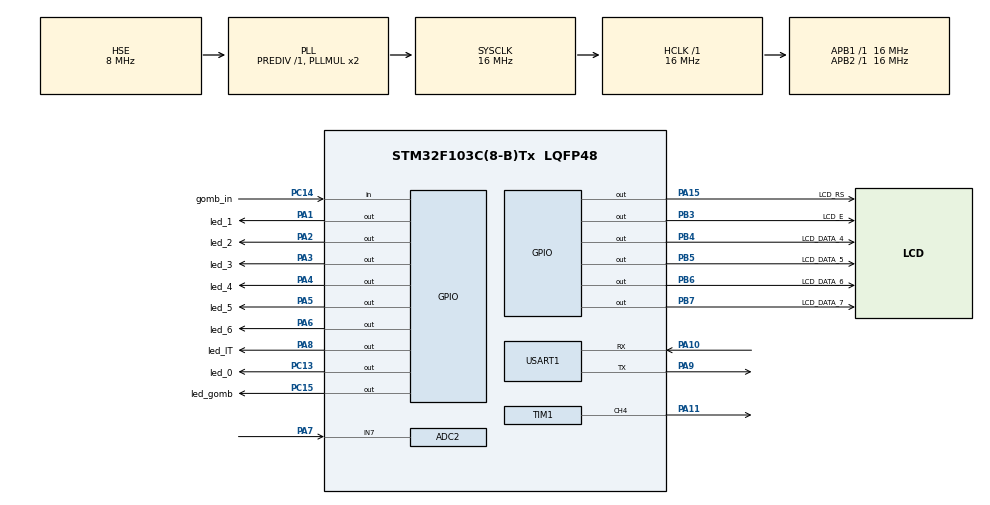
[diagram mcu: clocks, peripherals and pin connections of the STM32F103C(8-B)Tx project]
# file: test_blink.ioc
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ADC1.Channel-0\#ChannelRegularConversion=ADC_CHANNEL_TEMPSENSOR
ADC1.ContinuousConvMode=ENABLE
ADC1.NbrOfConversion=1
ADC1.NbrOfConversionFlag=1
ADC1.Rank-0\#ChannelRegularConversion=1
ADC1.SamplingTime-0\#ChannelRegularConversion=ADC_SAMPLETIME_71CYCLES_5
ADC1.master=1
ADC2.Channel-3\#ChannelRegularConversion=ADC_CHANNEL_7
ADC2.NbrOfConversionFlag=1
ADC2.Rank-3\#ChannelRegularConversion=1
ADC2.SamplingTime-3\#ChannelRegularConversion=ADC_SAMPLETIME_1CYCLE_5
Mcu.Family=STM32F1
Mcu.Name=STM32F103C(8-B)Tx
Mcu.Package=LQFP48
NVIC.PriorityGroup=NVIC_PRIORITYGROUP_4
NVIC.TIM2_IRQn=true\:0\:0\:false\:false\:true\:true\:true
PA1.GPIO_Label=led_1
PA1.GPIO_ModeDefaultOutputPP=GPIO_MODE_OUTPUT_PP
PA1.GPIO_PuPd=GPIO_NOPULL
PA1.GPIO_Speed=GPIO_SPEED_FREQ_LOW
PA1.PinState=GPIO_PIN_RESET
PA1.Signal=GPIO_Output
PA10.Mode=Asynchronous
PA10.Signal=USART1_RX
PA11.Signal=S_TIM1_CH4
PA13.Mode=Serial_Wire
PA13.Signal=SYS_JTMS-SWDIO
PA14.Mode=Serial_Wire
PA14.Signal=SYS_JTCK-SWCLK
PA15.GPIO_Label=LCD_RS
PA15.Signal=GPIO_Output
PA2.GPIO_Label=led_2
PA2.GPIO_ModeDefaultOutputPP=GPIO_MODE_OUTPUT_PP
PA2.GPIO_PuPd=GPIO_NOPULL
PA2.GPIO_Speed=GPIO_SPEED_FREQ_LOW
PA2.PinState=GPIO_PIN_RESET
PA2.Signal=GPIO_Output
PA3.GPIO_Label=led_3
PA3.GPIO_ModeDefaultOutputPP=GPIO_MODE_OUTPUT_PP
PA3.GPIO_PuPd=GPIO_NOPULL
PA3.GPIO_Speed=GPIO_SPEED_FREQ_LOW
PA3.PinState=GPIO_PIN_RESET
PA3.Signal=GPIO_Output
PA4.GPIO_Label=led_4
PA4.GPIO_ModeDefaultOutputPP=GPIO_MODE_OUTPUT_PP
PA4.GPIO_PuPd=GPIO_NOPULL
PA4.GPIO_Speed=GPIO_SPEED_FREQ_LOW
PA4.PinState=GPIO_PIN_RESET
PA4.Signal=GPIO_Output
PA5.GPIO_Label=led_5
PA5.GPIO_ModeDefaultOutputPP=GPIO_MODE_OUTPUT_PP
PA5.GPIO_PuPd=GPIO_NOPULL
PA5.GPIO_Speed=GPIO_SPEED_FREQ_LOW
PA5.PinState=GPIO_PIN_RESET
PA5.Signal=GPIO_Output
PA6.GPIO_Label=led_6
PA6.GPIO_ModeDefaultOutputPP=GPIO_MODE_OUTPUT_PP
PA6.GPIO_PuPd=GPIO_NOPULL
PA6.GPIO_Speed=GPIO_SPEED_FREQ_LOW
PA6.PinState=GPIO_PIN_RESET
PA6.Signal=GPIO_Output
PA7.Signal=ADCx_IN7
PA8.GPIO_Label=led_IT
PA8.GPIO_ModeDefaultOutputPP=GPIO_MODE_OUTPUT_PP
PA8.GPIO_PuPd=GPIO_NOPULL
PA8.GPIO_Speed=GPIO_SPEED_FREQ_LOW
PA8.PinState=GPIO_PIN_RESET
PA8.Signal=GPIO_Output
PA9.Mode=Asynchronous
PA9.Signal=USART1_TX
PB3.GPIO_Label=LCD_E
PB3.Signal=GPIO_Output
PB4.GPIO_Label=LCD_DATA_4
PB4.Signal=GPIO_Output
PB5.GPIO_Label=LCD_DATA_5
PB5.Signal=GPIO_Output
PB6.GPIO_Label=LCD_DATA_6
PB6.Signal=GPIO_Output
PB7.GPIO_Label=LCD_DATA_7
PB7.Signal=GPIO_Output
PC13-TAMPER-RTC.GPIO_Label=led_0
PC13-TAMPER-RTC.GPIO_ModeDefaultOutputPP=GPIO_MODE_OUTPUT_PP
PC13-TAMPER-RTC.GPIO_PuPd=GPIO_NOPULL
PC13-TAMPER-RTC.GPIO_Speed=GPIO_SPEED_FREQ_LOW
PC13-TAMPER-RTC.PinState=GPIO_PIN_RESET
PC13-TAMPER-RTC.Signal=GPIO_Output
PC14-OSC32_IN.GPIO_Label=gomb_in
PC14-OSC32_IN.Signal=GPIO_Input
PC15-OSC32_OUT.GPIO_Label=led_gomb
PC15-OSC32_OUT.Signal=GPIO_Output
PD0-OSC_IN.Mode=HSE-External-Oscillator
PD0-OSC_IN.Signal=RCC_OSC_IN
PD1-OSC_OUT.Mode=HSE-External-Oscillator
PD1-OSC_OUT.Signal=RCC_OSC_OUT
ProjectManager.HeapSize=0x200
ProjectManager.StackSize=0x400
ProjectManager.TargetToolchain=STM32CubeIDE
RCC.AHBFreq_Value=16000000
RCC.APB1Freq_Value=16000000
RCC.APB1TimFreq_Value=16000000
RCC.APB2Freq_Value=16000000
RCC.APB2TimFreq_Value=16000000
RCC.HCLKFreq_Value=16000000
RCC.PLLSourceVirtual=RCC_PLLSOURCE_HSE
RCC.SYSCLKFreq_VALUE=16000000
RCC.SYSCLKSource=RCC_SYSCLKSOURCE_PLLCLK
RCC.USBFreq_Value=16000000
SH.ADCx_IN7.0=ADC2_IN7,IN7
SH.S_TIM1_CH4.0=TIM1_CH4,PWM Generation4 CH4
TIM1.AutoReloadPreload=TIM_AUTORELOAD_PRELOAD_ENABLE
TIM1.Channel-PWM\ Generation4\ CH4=TIM_CHANNEL_4
TIM1.Period=200
TIM1.Prescaler=1599
TIM1.Pulse-PWM\ Generation4\ CH4=100
TIM2.Period=499
TIM2.Prescaler=39999
USART1.VirtualMode=VM_ASYNC
VP_ADC1_TempSens_Input.Mode=IN-TempSens
VP_TIM1_VS_ClockSourceINT.Mode=Internal
VP_TIM2_VS_ClockSourceINT.Mode=Internal
board=custom

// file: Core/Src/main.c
/* USER CODE BEGIN Header */
/**
  ******************************************************************************
  * @file           : main.c
  * @brief          : Main program body
  ******************************************************************************
  * @attention
  *
  * <h2><center>&copy; Copyright (c) 2020 STMicroelectronics.
  * All rights reserved.</center></h2>
  *
  * This software component is licensed by ST under BSD 3-Clause license,
  * the "License"; You may not use this file except in compliance with the
  * License. You may obtain a copy of the License at:
  *                        opensource.org/licenses/BSD-3-Clause
  *
  ******************************************************************************
  */
/* USER CODE END Header */

#include "main.h"

/* USER CODE BEGIN Includes */
#include "lcd.h"
#include "functions.h"
/* USER CODE END Includes */

ADC_HandleTypeDef hadc1;
ADC_HandleTypeDef hadc2;

TIM_HandleTypeDef htim1;
TIM_HandleTypeDef htim2;

UART_HandleTypeDef huart1;

/* USER CODE BEGIN PV */
uint32_t temp[3] = {0,0,0};

/* USER CODE END PV */

void SystemClock_Config(void);
static void MX_GPIO_Init(void);
static void MX_TIM1_Init(void);
static void MX_USART1_UART_Init(void);
static void MX_ADC1_Init(void);
static void MX_TIM2_Init(void);
static void MX_ADC2_Init(void);

int main(void)
{
  /* USER CODE BEGIN 1 */
	float temp_lcd = 0.0;
	char str_lcd[20], str_adc[20];
	float temp_vin = 0;
	bool tmp_button = 0;
  /* USER CODE END 1 */

  /* MCU Configuration--------------------------------------------------------*/

  /* Reset of all peripherals, Initializes the Flash interface and the Systick. */
  HAL_Init();

  /* Configure the system clock */
  SystemClock_Config();

  /* Initialize all configured peripherals */
  MX_GPIO_Init();
  MX_TIM1_Init();
  MX_USART1_UART_Init();
  MX_ADC1_Init();
  MX_TIM2_Init();
  MX_ADC2_Init();
  /* USER CODE BEGIN 2 */
  HAL_TIM_PWM_Start(&htim1,TIM_CHANNEL_4);
  HAL_TIM_Base_Start_IT(&htim2);
  //HAL_ADC_Start_DMA(&hadc1, temp,3);
  HAL_ADC_Start(&hadc1);
  HAL_ADC_Start(&hadc2);
  LCD_init(1,1);
  /* USER CODE END 2 */

  /* Infinite loop */
  /* USER CODE BEGIN WHILE */
  __HAL_TIM_SetCompare(&htim1,TIM_CHANNEL_4,100);
  LCD_string("Helo");
  HAL_Delay(2000);
  LCD_cmd(0x01);
  LCD_goto(0,0);
  LCD_string("Temp: ");
  LCD_goto(1,0);
  LCD_string("ADC: ");
  while (1)
  {
	  //HAL_GPIO_WritePin(GPIOC, GPIO_PIN_13, SET);

	  //LCD_string("Mehet");
	  LCD_goto(0,6);
	  //temp_lcd = ((((3.3/4096)*temp[0])-0.76)/(2.5/1000))+25;
	  //strtoINT(temp_lcd,sizeof(temp_lcd));
	  //temp_lcd = ((3.3/4096)*temp[0]);
	  //ftoa(temp[0],str_lcd,2);
	  HAL_ADC_Start(&hadc1);

	  temp_lcd = HAL_ADC_GetValue(&hadc1);
	  //temp_lcd = ((3.3/4096)*temp_lcd);
	  ftoa(temp_lcd,str_lcd,3);
	  LCD_string(str_lcd);
	  LCD_string(" ");
	  //strtoINT(temp[0], sizeof(temp[0]));

	  LCD_goto(1,6);

	  //strtoINT(temp[1],sizeof(temp[1]));
	  HAL_ADC_Start(&hadc2);
	  temp_vin = HAL_ADC_GetValue(&hadc2);
	  temp_vin = ((3.3/4096)*temp_vin);

	  //strtoINT(temp_vin,sizeof(temp_vin));
	  ftoa(temp_vin,str_adc,2);
	  LCD_string(str_adc);

	  //LCD_string(temp[0]);
	  /*temp_lcd = ((((3.3/4096)*temp[0])-0.76)/(2.5/1000)+25);
	  strtoINT(temp_lcd,sizeof(temp_lcd));

	  temp_vin = ((3.3/4096)*temp[1]);
	  LCD_goto(1,7);
	  strtoINT(temp_vin, sizeof(temp_vin));
*/
	  //LCD_goto(1,6);
	  //LCD_string(temp[1]);
	  HAL_GPIO_TogglePin(led_0_GPIO_Port,led_0_Pin);
	  HAL_GPIO_WritePin(led_1_GPIO_Port,led_1_Pin, SET);
	  __HAL_TIM_SetCompare(&htim1,TIM_CHANNEL_4,80);
	  HAL_Delay(500);

	  HAL_GPIO_WritePin(led_1_GPIO_Port,led_1_Pin, RESET);
	  HAL_GPIO_WritePin(led_2_GPIO_Port,led_2_Pin, SET);

	  HAL_Delay(500);

	  HAL_GPIO_WritePin(led_2_GPIO_Port,led_2_Pin, RESET);
	  HAL_GPIO_WritePin(led_3_GPIO_Port,led_3_Pin, SET);
	  HAL_Delay(500);

	  HAL_GPIO_WritePin(led_3_GPIO_Port,led_3_Pin, RESET);
	  HAL_GPIO_WritePin(led_4_GPIO_Port,led_4_Pin, SET);
	  HAL_Delay(500);

	  HAL_GPIO_WritePin(led_4_GPIO_Port,led_4_Pin, RESET);
	  HAL_GPIO_WritePin(led_5_GPIO_Port,led_5_Pin, SET);
	  HAL_Delay(500);
/*
	  HAL_GPIO_WritePin(led_4_GPIO_Port,led_1_Pin, RESET);
	  HAL_GPIO_WritePin(led_5_GPIO_Port,led_2_Pin, SET);
	  HAL_Delay(500);
*/
	  HAL_GPIO_WritePin(led_5_GPIO_Port,led_5_Pin, RESET);
	  HAL_GPIO_WritePin(led_6_GPIO_Port,led_6_Pin, SET);
	  __HAL_TIM_SetCompare(&htim1,TIM_CHANNEL_4,20);
	  HAL_Delay(500);

	  HAL_GPIO_WritePin(led_6_GPIO_Port,led_6_Pin, RESET);

	  //HAL_GPIO_WritePin(led_5_GPIO_Port,led_2_Pin, SET);
	  //HAL_Delay(500);
	  //HAL_GPIOEx_ConfigEventout(GPIO_PortSource, GPIO_PinSource)
	  //HAL_Delay(3000);
    /* USER CODE END WHILE */

    /* USER CODE BEGIN 3 */
	 /* if((HAL_GPIO_ReadPin(gomb_in_GPIO_Port, gomb_in_Pin) == 0) && !tmp_button){
		  tmp_button = 1;
		  HAL_GPIO_TogglePin(led_gomb_GPIO_Port,led_gomb_Pin);
	  }else{
		  tmp_button = 0;
	  }*/
  }
  /* USER CODE END 3 */
}

void SystemClock_Config(void)
{
  RCC_OscInitTypeDef RCC_OscInitStruct = {0};
  RCC_ClkInitTypeDef RCC_ClkInitStruct = {0};
  RCC_PeriphCLKInitTypeDef PeriphClkInit = {0};

  /** Initializes the CPU, AHB and APB busses clocks
  */
  RCC_OscInitStruct.OscillatorType = RCC_OSCILLATORTYPE_HSE;
  RCC_OscInitStruct.HSEState = RCC_HSE_ON;
  RCC_OscInitStruct.HSEPredivValue = RCC_HSE_PREDIV_DIV1;
  RCC_OscInitStruct.HSIState = RCC_HSI_ON;
  RCC_OscInitStruct.PLL.PLLState = RCC_PLL_ON;
  RCC_OscInitStruct.PLL.PLLSource = RCC_PLLSOURCE_HSE;
  RCC_OscInitStruct.PLL.PLLMUL = RCC_PLL_MUL2;
  if (HAL_RCC_OscConfig(&RCC_OscInitStruct) != HAL_OK)
  {
    Error_Handler();
  }
  /** Initializes the CPU, AHB and APB busses clocks
  */
  RCC_ClkInitStruct.ClockType = RCC_CLOCKTYPE_HCLK|RCC_CLOCKTYPE_SYSCLK
                              |RCC_CLOCKTYPE_PCLK1|RCC_CLOCKTYPE_PCLK2;
  RCC_ClkInitStruct.SYSCLKSource = RCC_SYSCLKSOURCE_PLLCLK;
  RCC_ClkInitStruct.AHBCLKDivider = RCC_SYSCLK_DIV1;
  RCC_ClkInitStruct.APB1CLKDivider = RCC_HCLK_DIV1;
  RCC_ClkInitStruct.APB2CLKDivider = RCC_HCLK_DIV1;

  if (HAL_RCC_ClockConfig(&RCC_ClkInitStruct, FLASH_LATENCY_0) != HAL_OK)
  {
    Error_Handler();
  }
  PeriphClkInit.PeriphClockSelection = RCC_PERIPHCLK_ADC;
  PeriphClkInit.AdcClockSelection = RCC_ADCPCLK2_DIV2;
  if (HAL_RCCEx_PeriphCLKConfig(&PeriphClkInit) != HAL_OK)
  {
    Error_Handler();
  }
}

static void MX_ADC1_Init(void)
{

  ADC_ChannelConfTypeDef sConfig = {0};

  /** Common config
  */
  hadc1.Instance = ADC1;
  hadc1.Init.ScanConvMode = ADC_SCAN_DISABLE;
  hadc1.Init.ContinuousConvMode = ENABLE;
  hadc1.Init.DiscontinuousConvMode = DISABLE;
  hadc1.Init.ExternalTrigConv = ADC_SOFTWARE_START;
  hadc1.Init.DataAlign = ADC_DATAALIGN_RIGHT;
  hadc1.Init.NbrOfConversion = 1;
  if (HAL_ADC_Init(&hadc1) != HAL_OK)
  {
    Error_Handler();
  }
  /** Configure Regular Channel
  */
  sConfig.Channel = ADC_CHANNEL_TEMPSENSOR;
  sConfig.Rank = ADC_REGULAR_RANK_1;
  sConfig.SamplingTime = ADC_SAMPLETIME_71CYCLES_5;
  if (HAL_ADC_ConfigChannel(&hadc1, &sConfig) != HAL_OK)
  {
    Error_Handler();
  }

}

static void MX_ADC2_Init(void)
{

  ADC_ChannelConfTypeDef sConfig = {0};

  /** Common config
  */
  hadc2.Instance = ADC2;
  hadc2.Init.ScanConvMode = ADC_SCAN_DISABLE;
  hadc2.Init.ContinuousConvMode = DISABLE;
  hadc2.Init.DiscontinuousConvMode = DISABLE;
  hadc2.Init.ExternalTrigConv = ADC_SOFTWARE_START;
  hadc2.Init.DataAlign = ADC_DATAALIGN_RIGHT;
  hadc2.Init.NbrOfConversion = 1;
  if (HAL_ADC_Init(&hadc2) != HAL_OK)
  {
    Error_Handler();
  }
  /** Configure Regular Channel
  */
  sConfig.Channel = ADC_CHANNEL_7;
  sConfig.Rank = ADC_REGULAR_RANK_1;
  sConfig.SamplingTime = ADC_SAMPLETIME_1CYCLE_5;
  if (HAL_ADC_ConfigChannel(&hadc2, &sConfig) != HAL_OK)
  {
    Error_Handler();
  }

}

static void MX_TIM1_Init(void)
{

  TIM_ClockConfigTypeDef sClockSourceConfig = {0};
  TIM_MasterConfigTypeDef sMasterConfig = {0};
  TIM_OC_InitTypeDef sConfigOC = {0};
  TIM_BreakDeadTimeConfigTypeDef sBreakDeadTimeConfig = {0};

  htim1.Instance = TIM1;
  htim1.Init.Prescaler = 1599;
  htim1.Init.CounterMode = TIM_COUNTERMODE_UP;
  htim1.Init.Period = 200;
  htim1.Init.ClockDivision = TIM_CLOCKDIVISION_DIV1;
  htim1.Init.RepetitionCounter = 0;
  htim1.Init.AutoReloadPreload = TIM_AUTORELOAD_PRELOAD_ENABLE;
  if (HAL_TIM_Base_Init(&htim1) != HAL_OK)
  {
    Error_Handler();
  }
  sClockSourceConfig.ClockSource = TIM_CLOCKSOURCE_INTERNAL;
  if (HAL_TIM_ConfigClockSource(&htim1, &sClockSourceConfig) != HAL_OK)
  {
    Error_Handler();
  }
  if (HAL_TIM_PWM_Init(&htim1) != HAL_OK)
  {
    Error_Handler();
  }
  sMasterConfig.MasterOutputTrigger = TIM_TRGO_RESET;
  sMasterConfig.MasterSlaveMode = TIM_MASTERSLAVEMODE_DISABLE;
  if (HAL_TIMEx_MasterConfigSynchronization(&htim1, &sMasterConfig) != HAL_OK)
  {
    Error_Handler();
  }
  sConfigOC.OCMode = TIM_OCMODE_PWM1;
  sConfigOC.Pulse = 100;
  sConfigOC.OCPolarity = TIM_OCPOLARITY_HIGH;
  sConfigOC.OCFastMode = TIM_OCFAST_DISABLE;
  sConfigOC.OCIdleState = TIM_OCIDLESTATE_RESET;
  sConfigOC.OCNIdleState = TIM_OCNIDLESTATE_RESET;
  if (HAL_TIM_PWM_ConfigChannel(&htim1, &sConfigOC, TIM_CHANNEL_4) != HAL_OK)
  {
    Error_Handler();
  }
  sBreakDeadTimeConfig.OffStateRunMode = TIM_OSSR_DISABLE;
  sBreakDeadTimeConfig.OffStateIDLEMode = TIM_OSSI_DISABLE;
  sBreakDeadTimeConfig.LockLevel = TIM_LOCKLEVEL_OFF;
  sBreakDeadTimeConfig.DeadTime = 0;
  sBreakDeadTimeConfig.BreakState = TIM_BREAK_DISABLE;
  sBreakDeadTimeConfig.BreakPolarity = TIM_BREAKPOLARITY_HIGH;
  sBreakDeadTimeConfig.AutomaticOutput = TIM_AUTOMATICOUTPUT_DISABLE;
  if (HAL_TIMEx_ConfigBreakDeadTime(&htim1, &sBreakDeadTimeConfig) != HAL_OK)
  {
    Error_Handler();
  }
  HAL_TIM_MspPostInit(&htim1);

}

static void MX_TIM2_Init(void)
{

  TIM_ClockConfigTypeDef sClockSourceConfig = {0};
  TIM_MasterConfigTypeDef sMasterConfig = {0};

  htim2.Instance = TIM2;
  htim2.Init.Prescaler = 39999;
  htim2.Init.CounterMode = TIM_COUNTERMODE_UP;
  htim2.Init.Period = 499;
  htim2.Init.ClockDivision = TIM_CLOCKDIVISION_DIV1;
  htim2.Init.AutoReloadPreload = TIM_AUTORELOAD_PRELOAD_DISABLE;
  if (HAL_TIM_Base_Init(&htim2) != HAL_OK)
  {
    Error_Handler();
  }
  sClockSourceConfig.ClockSource = TIM_CLOCKSOURCE_INTERNAL;
  if (HAL_TIM_ConfigClockSource(&htim2, &sClockSourceConfig) != HAL_OK)
  {
    Error_Handler();
  }
  sMasterConfig.MasterOutputTrigger = TIM_TRGO_RESET;
  sMasterConfig.MasterSlaveMode = TIM_MASTERSLAVEMODE_DISABLE;
  if (HAL_TIMEx_MasterConfigSynchronization(&htim2, &sMasterConfig) != HAL_OK)
  {
    Error_Handler();
  }

}

static void MX_USART1_UART_Init(void)
{

  huart1.Instance = USART1;
  huart1.Init.BaudRate = 115200;
  huart1.Init.WordLength = UART_WORDLENGTH_8B;
  huart1.Init.StopBits = UART_STOPBITS_1;
  huart1.Init.Parity = UART_PARITY_NONE;
  huart1.Init.Mode = UART_MODE_TX_RX;
  huart1.Init.HwFlowCtl = UART_HWCONTROL_NONE;
  huart1.Init.OverSampling = UART_OVERSAMPLING_16;
  if (HAL_UART_Init(&huart1) != HAL_OK)
  {
    Error_Handler();
  }

}

static void MX_GPIO_Init(void)
{
  GPIO_InitTypeDef GPIO_InitStruct = {0};

  /* GPIO Ports Clock Enable */
  __HAL_RCC_GPIOC_CLK_ENABLE();
  __HAL_RCC_GPIOD_CLK_ENABLE();
  __HAL_RCC_GPIOA_CLK_ENABLE();
  __HAL_RCC_GPIOB_CLK_ENABLE();

  /*Configure GPIO pin Output Level */
  HAL_GPIO_WritePin(GPIOC, led_0_Pin|led_gomb_Pin, GPIO_PIN_RESET);

  /*Configure GPIO pin Output Level */
  HAL_GPIO_WritePin(GPIOA, led_1_Pin|led_2_Pin|led_3_Pin|led_4_Pin
                          |led_5_Pin|led_6_Pin|led_IT_Pin|LCD_RS_Pin, GPIO_PIN_RESET);

  /*Configure GPIO pin Output Level */
  HAL_GPIO_WritePin(GPIOB, LCD_E_Pin|LCD_DATA_4_Pin|LCD_DATA_5_Pin|LCD_DATA_6_Pin
                          |LCD_DATA_7_Pin, GPIO_PIN_RESET);

  /*Configure GPIO pins : led_0_Pin led_gomb_Pin */
  GPIO_InitStruct.Pin = led_0_Pin|led_gomb_Pin;
  GPIO_InitStruct.Mode = GPIO_MODE_OUTPUT_PP;
  GPIO_InitStruct.Pull = GPIO_NOPULL;
  GPIO_InitStruct.Speed = GPIO_SPEED_FREQ_LOW;
  HAL_GPIO_Init(GPIOC, &GPIO_InitStruct);

  /*Configure GPIO pin : gomb_in_Pin */
  GPIO_InitStruct.Pin = gomb_in_Pin;
  GPIO_InitStruct.Mode = GPIO_MODE_INPUT;
  GPIO_InitStruct.Pull = GPIO_NOPULL;
  HAL_GPIO_Init(gomb_in_GPIO_Port, &GPIO_InitStruct);

  /*Configure GPIO pins : led_1_Pin led_2_Pin led_3_Pin led_4_Pin
                           led_5_Pin led_6_Pin led_IT_Pin LCD_RS_Pin */
  GPIO_InitStruct.Pin = led_1_Pin|led_2_Pin|led_3_Pin|led_4_Pin
                          |led_5_Pin|led_6_Pin|led_IT_Pin|LCD_RS_Pin;
  GPIO_InitStruct.Mode = GPIO_MODE_OUTPUT_PP;
  GPIO_InitStruct.Pull = GPIO_NOPULL;
  GPIO_InitStruct.Speed = GPIO_SPEED_FREQ_LOW;
  HAL_GPIO_Init(GPIOA, &GPIO_InitStruct);

  /*Configure GPIO pins : LCD_E_Pin LCD_DATA_4_Pin LCD_DATA_5_Pin LCD_DATA_6_Pin
                           LCD_DATA_7_Pin */
  GPIO_InitStruct.Pin = LCD_E_Pin|LCD_DATA_4_Pin|LCD_DATA_5_Pin|LCD_DATA_6_Pin
                          |LCD_DATA_7_Pin;
  GPIO_InitStruct.Mode = GPIO_MODE_OUTPUT_PP;
  GPIO_InitStruct.Pull = GPIO_NOPULL;
  GPIO_InitStruct.Speed = GPIO_SPEED_FREQ_LOW;
  HAL_GPIO_Init(GPIOB, &GPIO_InitStruct);

}

/* USER CODE BEGIN 4 */
void HAL_TIM_PeriodElapsedCallback(TIM_HandleTypeDef *htim){
	if(htim -> Instance == TIM2){
		HAL_GPIO_TogglePin(led_IT_GPIO_Port, led_IT_Pin);
	}
}
/* USER CODE END 4 */

void Error_Handler(void)
{
}

/************************ (C) COPYRIGHT STMicroelectronics *****END OF FILE****/
